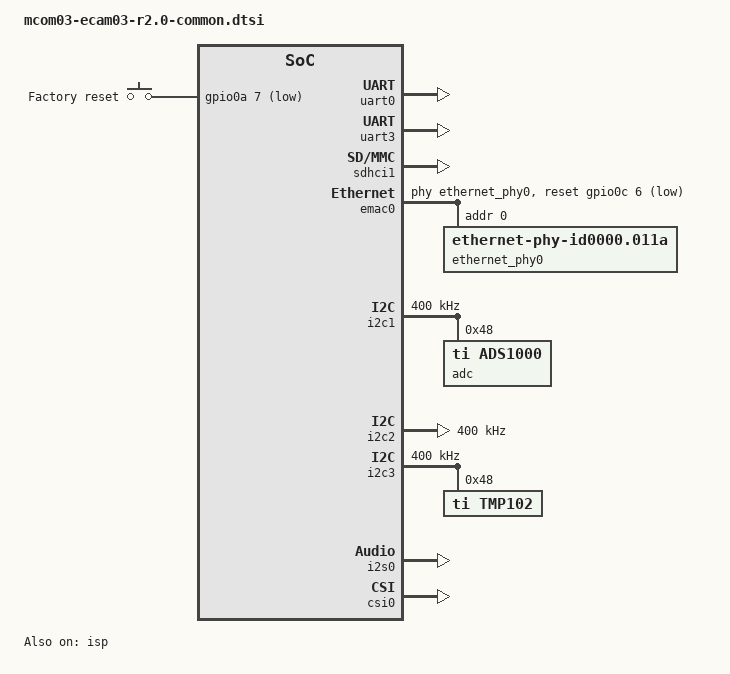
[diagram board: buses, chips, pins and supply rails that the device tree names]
// SPDX-License-Identifier: GPL-2.0+
/*
 * Copyright 2023 RnD Center "ELVEES", JSC
 */

/dts-v1/;

#include "mcom03-pm03cam-r2.0.dtsi"
#include <dt-bindings/input/input.h>

/ {
	gpio-keys {
		compatible = "gpio-keys";

		factory-reset {
			label = "Factory reset";
			gpios = <&gpio0a 7 GPIO_ACTIVE_LOW>;
			linux,code = <KEY_RESTART>;
		};
	};
};

&uart0 {
	status = "okay";
};

&uart3 {
	status = "okay";

	pinctrl-names = "default";
	pinctrl-0 = <&uart3_mux_data &uart3_mux_rs485>;
};

&sdhci1 {
	status = "okay";

	/* Disable 1.8V support
	 * Disable SDR50, SDR104 and DDR50 support
	 */
	sdhci-caps-mask = <0x7 0x4000000>;
	sdhci-caps = <0x0 0x0>;
};

&emac0 {
	status = "okay";

	phy-handle = <&ethernet_phy0>;

	reset-gpios = <&gpio0c 6 GPIO_ACTIVE_LOW>;

	ethernet_phy0: ethernet-phy@0 {
		compatible = "ethernet-phy-id0000.011a", "ethernet-phy-ieee802.3-c22";
		reg = <0x0>;

		motorcomm,clk-out-frequency-hz = <0>;
		rx-internal-delay-ps = <1800>;
		tx-internal-delay-ps = <1200>;
	};
};

&i2c1 {
	clock-frequency = <400000>;
	status = "okay";

	adc: adc@48 {
		compatible = "ti,ads1000";
		reg = <0x48>;
	};
};

&i2c2 {
	clock-frequency = <400000>;
	status = "okay";

	/* TDB: Inertial Measurement Unit (IMU) QMI8658C */

	/* TBD: Audio codec ALC5616-CGT */
};

&i2c3 {
	clock-frequency = <400000>;
	status = "okay";

	tmp102@48 {
		compatible = "ti,tmp102";
		reg = <0x48>;
	};
};

&i2s0 {
	status = "okay";
};

&isp {
	status = "okay";
};

&csi0 {
	status = "okay";
};
